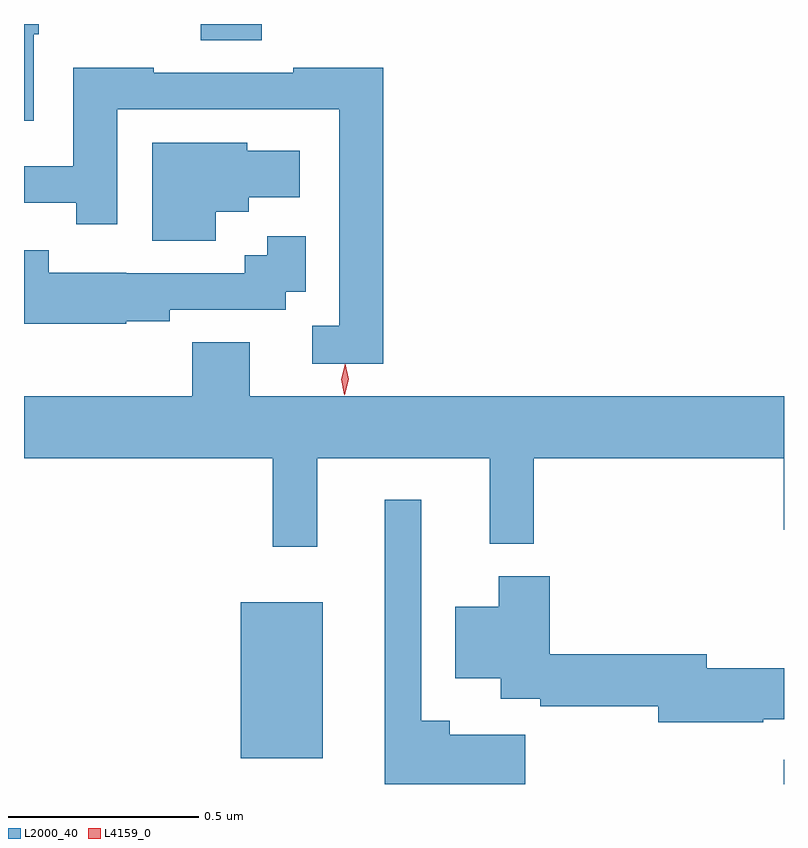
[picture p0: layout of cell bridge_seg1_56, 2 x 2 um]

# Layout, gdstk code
import gdstk
lib = gdstk.Library(unit=1e-6, precision=1e-09)
def R(c, l, rs):  # rectangles x0, y0, x1, y1
    for r in rs: c.add(gdstk.rectangle(r[:2], r[2:], *l))
def P(c, l, *ps):  # polygons
    for p in ps: c.add(gdstk.Polygon(p, *l))
L2000_40 = (2000, 40)
L4159_0 = (4159, 0)

bridge_seg1_56 = lib.new_cell('bridge_seg1_56')
R(bridge_seg1_56, L2000_40, [(404.768,570.855,404.769,570.919), (403.34,570.923,403.555,571.333), (403.234,572.812,403.394,572.855)])
P(bridge_seg1_56, L2000_40, [(402.795,572.828),(402.808,572.828),(402.808,572.855),(402.769,572.855),(402.769,572.6),(402.795,572.6)],
  [(403.715,572.74),(403.477,572.74),(403.477,572.727),(403.111,572.727),(403.111,572.74),(402.899,572.74),(402.899,572.481),(402.769,572.481),(402.769,572.385),(402.906,572.385),(402.906,572.328),(403.015,572.328),(403.015,572.631),(403.599,572.631),(403.599,572.061),(403.527,572.061),(403.527,571.961),(403.715,571.961)],
  [(403.273,572.361),(403.36,572.361),(403.36,572.399),(403.495,572.399),(403.495,572.521),(403.356,572.521),(403.356,572.542),(403.106,572.542),(403.106,572.284),(403.273,572.284)],
  [(403.038,572.073),(403.152,572.073),(403.152,572.103),(403.458,572.103),(403.458,572.151),(403.51,572.151),(403.51,572.297),(403.409,572.297),(403.409,572.247),(403.35,572.247),(403.35,572.199),(403.038,572.199),(403.038,572.2),(402.834,572.2),(402.834,572.26),(402.769,572.26),(402.769,572.066),(403.038,572.066)],
  [(403.541,571.712),(403.994,571.712),(403.994,571.487),(404.111,571.487),(404.111,571.712),(404.768,571.712),(404.768,571.524),(404.769,571.524),(404.769,571.876),(403.363,571.876),(403.363,572.018),(403.212,572.018),(403.212,571.876),(402.769,571.876),(402.769,571.712),(403.423,571.712),(403.423,571.479),(403.541,571.479)],
  [(404.088,570.985),(403.889,570.985),(403.889,571.021),(403.815,571.021),(403.815,571.603),(403.718,571.603),(403.718,570.855),(404.088,570.855)],
  [(404.714,571.025),(404.769,571.025),(404.769,571.16),(404.566,571.16),(404.566,571.196),(404.153,571.196),(404.153,571.402),(404.018,571.402),(404.018,571.321),(403.904,571.321),(403.904,571.133),(404.024,571.133),(404.024,571.08),(404.128,571.08),(404.128,571.06),(404.438,571.06),(404.438,571.018),(404.714,571.018)])
P(bridge_seg1_56, L4159_0, [(403.612,571.879),(403.604,571.92),(403.614,571.961),(403.614,571.961),(403.615,571.961),(403.624,571.92),(403.613,571.879),(403.613,571.879)])

lib.write_gds('bridge_seg1_56.gds')
